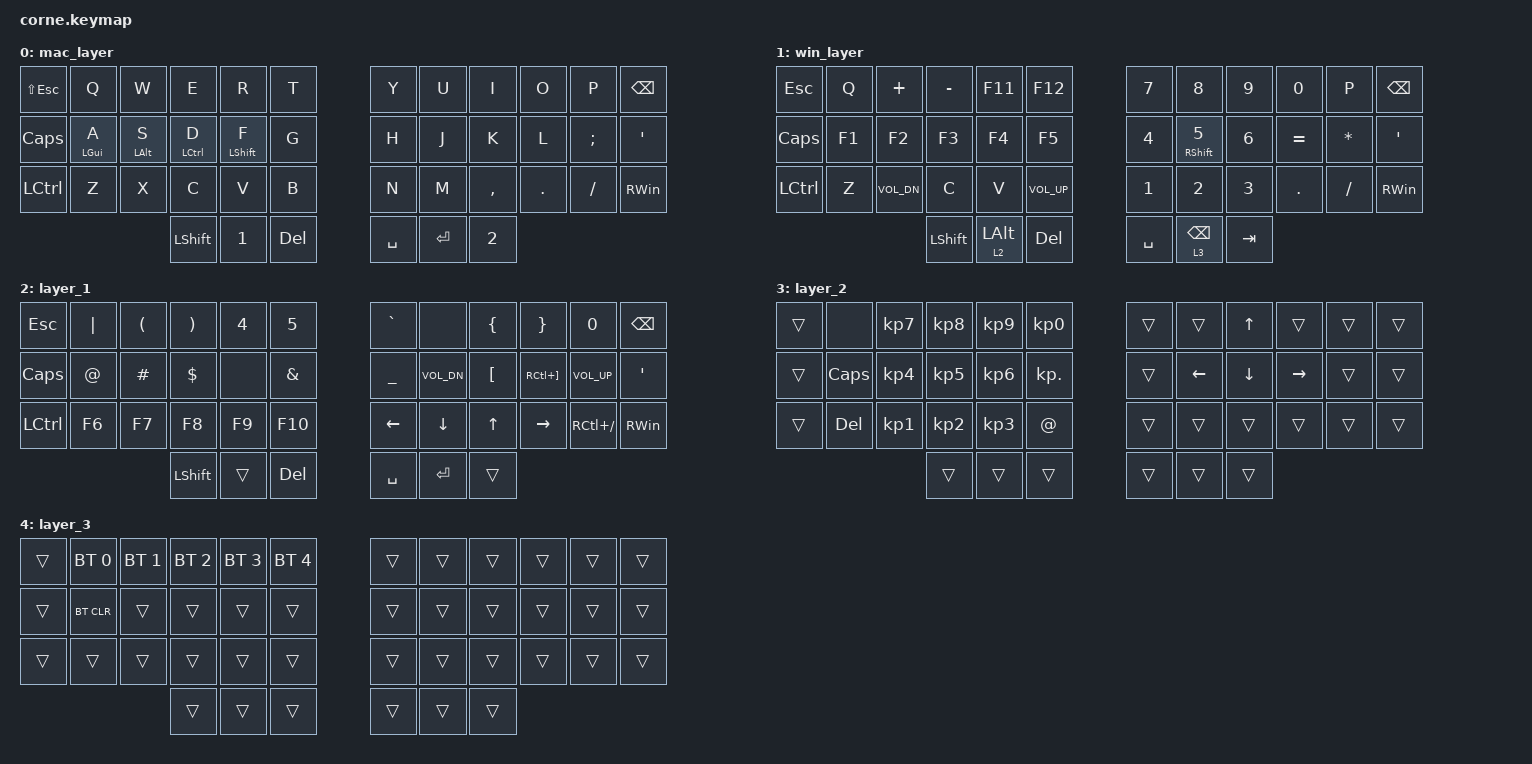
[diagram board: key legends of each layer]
/*
 * Copyright (c) 2020 The ZMK Contributors
 *
 * SPDX-License-Identifier: MIT
 */

#include <behaviors.dtsi>
#include <dt-bindings/zmk/bt.h>
#include <dt-bindings/zmk/keys.h>
#include <dt-bindings/zmk/keys.h>

/ {
    combos {
        compatible = "zmk,combos";

        combo1 {
            bindings = <&kp LBKT>;
            key-positions = <3 4>;
        };

        combo2 {
            bindings = <&kp RBKT>;
            key-positions = <7 8>;
        };

        combo3 {
            bindings = <&kp LEFT_PARENTHESIS>;
            key-positions = <15 16>;
        };

        combo4 {
            bindings = <&kp RIGHT_PARENTHESIS>;
            key-positions = <19 20>;
        };

        combo5 {
            bindings = <&kp LEFT_BRACE>;
            key-positions = <27 28>;
        };

        combo6 {
            bindings = <&kp RIGHT_BRACE>;
            key-positions = <31 32>;
        };

        combo7 {
            bindings = <&kp BACKSLASH>;
            key-positions = <5 6>;
        };

        combo8 {
            bindings = <&kp PIPE>;
            key-positions = <17 18>;
        };

        combo9 {
            bindings = <&to 0>;
            key-positions = <1 10>;
        };

        combo10 {
            bindings = <&to 1>;
            key-positions = <2 9>;
        };
    };

    behaviors {
        tab_esc_ctrl: tab_esc_ctrl {
            compatible = "zmk,behavior-tap-dance";
            label = "TAB_ESC_CTRL";
            #binding-cells = <0>;
            bindings = <&mt LCTRL ESC>, <&kp TAB>;
        };

        gqt: global-quick-tap {
            compatible = "zmk,behavior-hold-tap";
            label = "GLOBAL_QUICK_TAP";
            bindings = <&kp>, <&kp>;

            #binding-cells = <2>;
            tapping-term-ms = <300>;
            quick-tap-ms = <180>;
            global-quick-tap;
            flavor = "tap-preferred";
        };

        ltq: ltq {
            compatible = "zmk,behavior-hold-tap";
            label = "LTQ";
            bindings = <&mo>, <&kp>;

            #binding-cells = <2>;
            tapping-term-ms = <200>;
            quick-tap-ms = <180>;
            global-quick-tap;
        };

        caps_esc_ctrl: caps_esc_ctrl {
            compatible = "zmk,behavior-tap-dance";
            label = "CAPS_ESC_CTRL";
            #binding-cells = <0>;
            bindings = <&mt LCTRL ESC>, <&kt CAPSLOCK>;
        };
    };

    keymap {
        compatible = "zmk,keymap";

        mac_layer {
            bindings = <
&kp LS(ESCAPE)  &kp Q            &kp W            &kp E         &kp R          &kp T         &kp Y      &kp U      &kp I         &kp O    &kp P          &kp BACKSPACE
&kp CAPS        &gqt LEFT_GUI A  &gqt LEFT_ALT S  &gqt LCTRL D  &gqt LSHIFT F  &kp G         &kp H      &kp J      &kp K         &kp L    &kp SEMICOLON  &kp SQT
&kp LCTRL       &kp Z            &kp X            &kp C         &kp V          &kp B         &kp N      &kp M      &kp COMMA     &kp DOT  &kp FSLH       &kp RIGHT_WIN
                                                  &kp LSHIFT    &kp NUMBER_1   &kp DELETE    &kp SPACE  &kp ENTER  &kp NUMBER_2
            >;
        };

        win_layer {
            bindings = <
&kp ESCAPE    &kp Q   &kp PLUS      &kp MINUS       &kp F11         &kp F12         &kp NUMBER_7  &kp NUMBER_8          &kp NUMBER_9  &kp NUMBER_0  &kp P         &kp BACKSPACE
&kp CAPSLOCK  &kp F1  &kp F2        &kp F3          &kp F4          &kp F5          &kp NUMBER_4  &gqt RSHIFT NUMBER_5  &kp NUMBER_6  &kp EQUAL     &kp ASTERISK  &kp SQT
&kp LCTRL     &kp Z   &kp C_VOL_DN  &kp C           &kp V           &kp C_VOL_UP    &kp NUMBER_1  &kp NUMBER_2          &kp NUMBER_3  &kp DOT       &kp FSLH      &kp RIGHT_WIN
                                    &kp LEFT_SHIFT  &lt 2 LEFT_ALT  &kp DELETE      &kp SPACE     &ltq 3 BSPC           &kp TAB
            >;
        };

        layer_1 {
            bindings = <
&kp ESC       &kp PIPE     &kp LEFT_PARENTHESIS  &kp RIGHT_PARENTHESIS  &kp NUMBER_4  &kp NUMBER_5     &kp GRAVE       &none           &kp LEFT_BRACE    &kp RIGHT_BRACE        &kp NUMBER_0   &kp BACKSPACE
&kp CAPSLOCK  &kp AT_SIGN  &kp HASH              &kp DOLLAR             &none         &kp AMPERSAND    &kp UNDERSCORE  &kp C_VOL_DN    &kp LEFT_BRACKET  &kp RC(RIGHT_BRACKET)  &kp C_VOL_UP   &kp SQT
&kp LCTRL     &kp F6       &kp F7                &kp F8                 &kp F9        &kp F10          &kp LEFT        &kp DOWN_ARROW  &kp UP_ARROW      &kp RIGHT              &kp RC(SLASH)  &kp RIGHT_WIN
                                                 &kp LEFT_SHIFT         &trans        &kp DELETE       &kp SPACE       &kp ENTER       &trans
            >;
        };

        layer_2 {
            bindings = <
&trans  &none     &kp KP_NUMBER_7  &kp KP_NUMBER_8  &kp KP_NUMBER_9  &kp KP_NUMBER_0    &trans  &trans    &kp UP    &trans     &trans  &trans
&trans  &kp CAPS  &kp KP_NUMBER_4  &kp KP_NUMBER_5  &kp KP_NUMBER_6  &kp KP_DOT         &trans  &kp LEFT  &kp DOWN  &kp RIGHT  &trans  &trans
&trans  &kp DEL   &kp KP_NUMBER_1  &kp KP_NUMBER_2  &kp KP_NUMBER_3  &kp AT_SIGN        &trans  &trans    &trans    &trans     &trans  &trans
                                   &trans           &trans           &trans             &trans  &trans    &trans
            >;
        };

        layer_3 {
            bindings = <
&trans  &bt BT_SEL 0  &bt BT_SEL 1  &bt BT_SEL 2  &bt BT_SEL 3  &bt BT_SEL 4    &trans  &trans  &trans  &trans  &trans  &trans
&trans  &bt BT_CLR    &trans        &trans        &trans        &trans          &trans  &trans  &trans  &trans  &trans  &trans
&trans  &trans        &trans        &trans        &trans        &trans          &trans  &trans  &trans  &trans  &trans  &trans
                                    &trans        &trans        &trans          &trans  &trans  &trans
            >;
        };
    };
};
